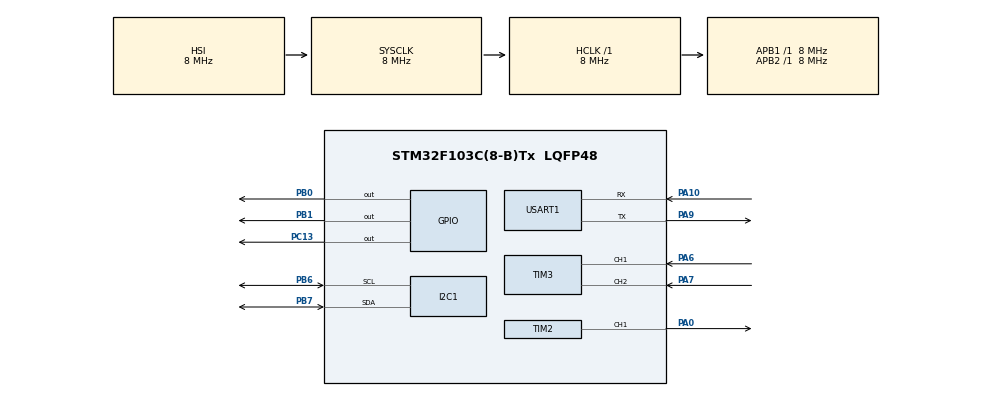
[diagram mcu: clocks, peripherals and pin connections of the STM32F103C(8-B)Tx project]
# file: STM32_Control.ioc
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Mcu.Family=STM32F1
Mcu.Name=STM32F103C(8-B)Tx
Mcu.Package=LQFP48
NVIC.PriorityGroup=NVIC_PRIORITYGROUP_4
PA0-WKUP.Signal=S_TIM2_CH1_ETR
PA10.Mode=Asynchronous
PA10.Signal=USART1_RX
PA13.Mode=Serial_Wire
PA13.Signal=SYS_JTMS-SWDIO
PA14.Mode=Serial_Wire
PA14.Signal=SYS_JTCK-SWCLK
PA6.Signal=S_TIM3_CH1
PA7.Signal=S_TIM3_CH2
PA9.Mode=Asynchronous
PA9.Signal=USART1_TX
PB0.Signal=GPIO_Output
PB1.Signal=GPIO_Output
PB6.Mode=I2C
PB6.Signal=I2C1_SCL
PB7.Mode=I2C
PB7.Signal=I2C1_SDA
PC13-TAMPER-RTC.PinState=GPIO_PIN_SET
PC13-TAMPER-RTC.Signal=GPIO_Output
ProjectManager.HeapSize=0x200
ProjectManager.StackSize=0x800
ProjectManager.TargetToolchain=CMake
RCC.AHBFreq_Value=8000000
RCC.APB1Freq_Value=8000000
RCC.APB1TimFreq_Value=8000000
RCC.APB2Freq_Value=8000000
RCC.APB2TimFreq_Value=8000000
RCC.HCLKFreq_Value=8000000
RCC.SYSCLKFreq_VALUE=8000000
RCC.USBFreq_Value=8000000
SH.S_TIM2_CH1_ETR.0=TIM2_CH1,PWM Generation1 CH1
SH.S_TIM3_CH1.0=TIM3_CH1,Encoder_Interface
SH.S_TIM3_CH2.0=TIM3_CH2,Encoder_Interface
TIM2.Channel-PWM\ Generation1\ CH1=TIM_CHANNEL_1
TIM2.Period=999
TIM2.Prescaler=7
TIM3.EncoderMode=TIM_ENCODERMODE_TI12
USART1.VirtualMode=VM_ASYNC
board=custom

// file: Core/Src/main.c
/* USER CODE BEGIN Header */
/**
  ******************************************************************************
  * @file           : main.c
  * @brief          : Main program body
  ******************************************************************************
  * @attention
  *
  * Copyright (c) 2026 STMicroelectronics.
  * All rights reserved.
  *
  * This software is licensed under terms that can be found in the LICENSE file
  * in the root directory of this software component.
  * If no LICENSE file comes with this software, it is provided AS-IS.
  *
  ******************************************************************************
  */
/* USER CODE END Header */
#include "main.h"

/* USER CODE BEGIN Includes */
#include "config.h"
#include "motor.h"
#include "pid.h"
#include "ins.h"
#include <math.h>
#include <stdio.h>
#include <string.h>
/* USER CODE END Includes */

I2C_HandleTypeDef hi2c1;

TIM_HandleTypeDef htim2;
TIM_HandleTypeDef htim3;

UART_HandleTypeDef huart1;

/* USER CODE BEGIN PV */
enum { STOP, PWM, SPEED, ANGLE };   /* 控制模式：停机、PWM、速度闭环、角度闭环 */
static int control_mode = STOP;   /* 当前控制模式 */
static int target_pwm;            /* PWM 模式的有符号输出 */
static int show_data = 0;         /* 遥测开关：v 开启，p 关闭 */
static int zero_valid;            /* 角度零点有效标志 */
static PID speed_pid = {.kp = 25, .ki = 80, .kd = 0, .limit = PWM_LIMIT}; /* 速度环 */
static PID angle_pid = {.kp = 1.5f, .ki = 0, .kd = 0.05f, .limit = ANGLE_SPEED_MAX}; /* 角度环 */
static uint16_t last_count;
static int32_t total_count;        /* 编码器累计计数 */
static uint32_t last_control, last_send;
static uint32_t last_imu_ok;       /* 上次有效姿态数据的时间，单位 ms */
static float actual_speed, target_speed;  /* 实际转速、目标转速，单位 RPM */
static float actual_angle, target_angle, angle_zero; /* 实际角度、目标角度、零点偏置，单位 ° */
static const char *message;       /* 待发送的状态消息 */

/* 中断负责接收字符，主循环负责解析完整命令。 */
static uint8_t rx_byte;
static char rx_input[32];          /* 串口命令缓冲区 */
static unsigned int rx_length;
static volatile int command_ready, serial_stop;
static int rx_discard;
/* USER CODE END PV */

void SystemClock_Config(void);
static void MX_GPIO_Init(void);
static void MX_USART1_UART_Init(void);
static void MX_TIM2_Init(void);
static void MX_TIM3_Init(void);
static void MX_I2C1_Init(void);
/* USER CODE BEGIN PFP */
static void Process_Command(const char *command);
/* USER CODE END PFP */

int main(void)
{

  /* MCU Configuration--------------------------------------------------------*/

  /* Reset of all peripherals, Initializes the Flash interface and the Systick. */
  HAL_Init();

  /* Configure the system clock */
  SystemClock_Config();

  /* Initialize all configured peripherals */
  MX_GPIO_Init();
  MX_USART1_UART_Init();
  MX_TIM2_Init();
  MX_TIM3_Init();
  MX_I2C1_Init();
  /* USER CODE BEGIN 2 */
    HAL_NVIC_SetPriority(USART1_IRQn, 2, 0);
    HAL_NVIC_EnableIRQ(USART1_IRQn);
    HAL_UART_Receive_IT(&huart1, &rx_byte, 1); /* 启动单字节中断接收 */
    Motor_Start(&htim2); /* 启动 PWM，初始占空比为 0 */
    if (HAL_TIM_Encoder_Start(&htim3, TIM_CHANNEL_ALL) != HAL_OK) Error_Handler();
    ins_init();                      /* 初始化 IMU 并校准陀螺仪零偏 */
    ins_data_t *ins = ins_data();     /* 姿态解算结果 */
    last_count = (uint16_t)__HAL_TIM_GET_COUNTER(&htim3);
    last_control = HAL_GetTick();
    last_imu_ok = last_control;
    message = "READY; z=ZERO, q=STOP\r\n";
    if (!ins->raw.valid) message = "IMU INVALID; CHECK POWER/WIRING; SEND r\r\n";
  /* USER CODE END 2 */

  /* Infinite loop */
  while (1)
  {

/* USER CODE BEGIN 3 */
    /* 处理停机请求和完整串口命令。 */
    if (serial_stop) {
        serial_stop = 0;
        command_ready = 0;
        Process_Command("q");
    }
    if (command_ready) {
        Process_Command(rx_input); /* 处理期间，接收中断不改写命令缓冲区 */
        command_ready = 0;
    }
    uint32_t now = HAL_GetTick();
    if (now - last_control >= CONTROL_MS) {
        /* 采集姿态和编码器数据，计算角度与转速。 */
        ins_update();
        uint32_t imu_now = HAL_GetTick();
        float dt = (imu_now - last_control) / 1000.0f; /* 实际采样周期，单位 s，包含 I2C 读取耗时 */
        last_control = imu_now;
        int imu_expired = imu_now - last_imu_ok > 200U; /* 姿态数据连续失效超过 200 ms */
        if (ins->raw.valid) last_imu_ok = imu_now;
        actual_angle = ANGLE_SIGN * ins->pitch - angle_zero; /* 以俯仰角计算相对零点的角度 */
        uint16_t count = (uint16_t)__HAL_TIM_GET_COUNTER(&htim3);
        int16_t delta = (int16_t)(count - last_count); /* 有符号差值处理 16 位计数器回绕 */
        last_count = count;
        total_count += delta * ENCODER_SIGN;
        float turns = delta * ENCODER_SIGN / ENCODER_CPR; /* 采样周期内的输出轴转数 */
        float rpm = turns / dt * 60.0f; /* 输出轴转速，单位 RPM */
        float filter_weight = dt / (0.04f + dt);
        actual_speed += filter_weight * (rpm - actual_speed); /* 一阶低通滤波，时间常数 40 ms */

        /* 角度外环根据角度误差生成目标转速。 */
        if (control_mode == ANGLE) {
            if (imu_expired) { /* 数据持续失效时停机并清除零点 */
                control_mode = STOP;
                zero_valid = 0;
                message = "IMU LOST >200ms; STOP; CHECK WIRING; SEND r\r\n";
            } else if (!ins->raw.valid) {
                /* 短时读取失败时暂停输出并重置 I2C，恢复后沿用原零点。 */
                Motor_Stop();
                PID_Reset(&speed_pid);
                PID_Reset(&angle_pid);
                HAL_I2C_DeInit(&hi2c1);
                HAL_I2C_Init(&hi2c1);
            } else {
                target_speed = PID_Update(&angle_pid, target_angle, actual_angle, dt);
            }
        }

        /* 速度内环计算 PWM；停机或角度模式下姿态无效时输出为 0。 */
        int pwm_output = 0;
        if (control_mode == PWM) pwm_output = target_pwm;
        if (control_mode == SPEED || (control_mode == ANGLE && ins->raw.valid))
            pwm_output = (int)PID_Update(&speed_pid, target_speed, actual_speed, dt);
        Motor_Set(pwm_output);
    }

    /* 状态消息优先发送；遥测使用 FireWater 格式，每 50 ms 发送一帧。 */
    if (message) {
        HAL_UART_Transmit(&huart1, (uint8_t *)message, strlen(message), 50);
        message = NULL;
    } else if (show_data && now - last_send >= 50U) {
        char text[320];
        last_send = now;
        snprintf(text, sizeof(text),
            "imu:%.2f,%.2f,%.2f,%.2f,%ld,%d,%.2f,%.2f,%.2f,%.2f,%.2f,%.2f,%.2f,%.2f,%.2f,%d,%u\r\n",
            target_angle, actual_angle, target_speed, actual_speed, (long)total_count, Motor_Output(),
            ins->gyro[0], ins->gyro[1], ins->gyro[2],
            ins->gyro_accel[0], ins->gyro_accel[1], ins->gyro_accel[2],
            ins->roll, ins->pitch, ins->yaw, control_mode, (unsigned int)ins->raw.valid);
        HAL_UART_Transmit(&huart1, (uint8_t *)text, strlen(text), 50);
    }
    HAL_Delay(1);
  }
  /* USER CODE END 3 */
}

void SystemClock_Config(void)
{
  RCC_OscInitTypeDef RCC_OscInitStruct = {0};
  RCC_ClkInitTypeDef RCC_ClkInitStruct = {0};

  /** Initializes the RCC Oscillators according to the specified parameters
  * in the RCC_OscInitTypeDef structure.
  */
  RCC_OscInitStruct.OscillatorType = RCC_OSCILLATORTYPE_HSI;
  RCC_OscInitStruct.HSIState = RCC_HSI_ON;
  RCC_OscInitStruct.HSICalibrationValue = RCC_HSICALIBRATION_DEFAULT;
  RCC_OscInitStruct.PLL.PLLState = RCC_PLL_NONE;
  if (HAL_RCC_OscConfig(&RCC_OscInitStruct) != HAL_OK)
  {
    Error_Handler();
  }

  /** Initializes the CPU, AHB and APB buses clocks
  */
  RCC_ClkInitStruct.ClockType = RCC_CLOCKTYPE_HCLK|RCC_CLOCKTYPE_SYSCLK
                              |RCC_CLOCKTYPE_PCLK1|RCC_CLOCKTYPE_PCLK2;
  RCC_ClkInitStruct.SYSCLKSource = RCC_SYSCLKSOURCE_HSI;
  RCC_ClkInitStruct.AHBCLKDivider = RCC_SYSCLK_DIV1;
  RCC_ClkInitStruct.APB1CLKDivider = RCC_HCLK_DIV1;
  RCC_ClkInitStruct.APB2CLKDivider = RCC_HCLK_DIV1;

  if (HAL_RCC_ClockConfig(&RCC_ClkInitStruct, FLASH_LATENCY_0) != HAL_OK)
  {
    Error_Handler();
  }
}

static void MX_I2C1_Init(void)
{

  hi2c1.Instance = I2C1;
  hi2c1.Init.ClockSpeed = 100000;
  hi2c1.Init.DutyCycle = I2C_DUTYCYCLE_2;
  hi2c1.Init.OwnAddress1 = 0;
  hi2c1.Init.AddressingMode = I2C_ADDRESSINGMODE_7BIT;
  hi2c1.Init.DualAddressMode = I2C_DUALADDRESS_DISABLE;
  hi2c1.Init.OwnAddress2 = 0;
  hi2c1.Init.GeneralCallMode = I2C_GENERALCALL_DISABLE;
  hi2c1.Init.NoStretchMode = I2C_NOSTRETCH_DISABLE;
  if (HAL_I2C_Init(&hi2c1) != HAL_OK)
  {
    Error_Handler();
  }

}

static void MX_TIM2_Init(void)
{

  TIM_MasterConfigTypeDef sMasterConfig = {0};
  TIM_OC_InitTypeDef sConfigOC = {0};

  htim2.Instance = TIM2;
  htim2.Init.Prescaler = 7;
  htim2.Init.CounterMode = TIM_COUNTERMODE_UP;
  htim2.Init.Period = 999;
  htim2.Init.ClockDivision = TIM_CLOCKDIVISION_DIV1;
  htim2.Init.AutoReloadPreload = TIM_AUTORELOAD_PRELOAD_DISABLE;
  if (HAL_TIM_PWM_Init(&htim2) != HAL_OK)
  {
    Error_Handler();
  }
  sMasterConfig.MasterOutputTrigger = TIM_TRGO_RESET;
  sMasterConfig.MasterSlaveMode = TIM_MASTERSLAVEMODE_DISABLE;
  if (HAL_TIMEx_MasterConfigSynchronization(&htim2, &sMasterConfig) != HAL_OK)
  {
    Error_Handler();
  }
  sConfigOC.OCMode = TIM_OCMODE_PWM1;
  sConfigOC.Pulse = 0;
  sConfigOC.OCPolarity = TIM_OCPOLARITY_HIGH;
  sConfigOC.OCFastMode = TIM_OCFAST_DISABLE;
  if (HAL_TIM_PWM_ConfigChannel(&htim2, &sConfigOC, TIM_CHANNEL_1) != HAL_OK)
  {
    Error_Handler();
  }
  HAL_TIM_MspPostInit(&htim2);

}

static void MX_TIM3_Init(void)
{

  TIM_Encoder_InitTypeDef sConfig = {0};
  TIM_MasterConfigTypeDef sMasterConfig = {0};

  htim3.Instance = TIM3;
  htim3.Init.Prescaler = 0;
  htim3.Init.CounterMode = TIM_COUNTERMODE_UP;
  htim3.Init.Period = 65535;
  htim3.Init.ClockDivision = TIM_CLOCKDIVISION_DIV1;
  htim3.Init.AutoReloadPreload = TIM_AUTORELOAD_PRELOAD_DISABLE;
  sConfig.EncoderMode = TIM_ENCODERMODE_TI12;
  sConfig.IC1Polarity = TIM_ICPOLARITY_RISING;
  sConfig.IC1Selection = TIM_ICSELECTION_DIRECTTI;
  sConfig.IC1Prescaler = TIM_ICPSC_DIV1;
  sConfig.IC1Filter = 0;
  sConfig.IC2Polarity = TIM_ICPOLARITY_RISING;
  sConfig.IC2Selection = TIM_ICSELECTION_DIRECTTI;
  sConfig.IC2Prescaler = TIM_ICPSC_DIV1;
  sConfig.IC2Filter = 0;
  if (HAL_TIM_Encoder_Init(&htim3, &sConfig) != HAL_OK)
  {
    Error_Handler();
  }
  sMasterConfig.MasterOutputTrigger = TIM_TRGO_RESET;
  sMasterConfig.MasterSlaveMode = TIM_MASTERSLAVEMODE_DISABLE;
  if (HAL_TIMEx_MasterConfigSynchronization(&htim3, &sMasterConfig) != HAL_OK)
  {
    Error_Handler();
  }

}

static void MX_USART1_UART_Init(void)
{

  huart1.Instance = USART1;
  huart1.Init.BaudRate = 115200;
  huart1.Init.WordLength = UART_WORDLENGTH_8B;
  huart1.Init.StopBits = UART_STOPBITS_1;
  huart1.Init.Parity = UART_PARITY_NONE;
  huart1.Init.Mode = UART_MODE_TX_RX;
  huart1.Init.HwFlowCtl = UART_HWCONTROL_NONE;
  huart1.Init.OverSampling = UART_OVERSAMPLING_16;
  if (HAL_UART_Init(&huart1) != HAL_OK)
  {
    Error_Handler();
  }

}

static void MX_GPIO_Init(void)
{
  GPIO_InitTypeDef GPIO_InitStruct = {0};

  /* GPIO Ports Clock Enable */
  __HAL_RCC_GPIOC_CLK_ENABLE();
  __HAL_RCC_GPIOA_CLK_ENABLE();
  __HAL_RCC_GPIOB_CLK_ENABLE();

  /*Configure GPIO pin Output Level */
  HAL_GPIO_WritePin(GPIOC, GPIO_PIN_13, GPIO_PIN_SET);

  /*Configure GPIO pin Output Level */
  HAL_GPIO_WritePin(GPIOB, GPIO_PIN_0|GPIO_PIN_1, GPIO_PIN_RESET);

  /*Configure GPIO pin : PC13 */
  GPIO_InitStruct.Pin = GPIO_PIN_13;
  GPIO_InitStruct.Mode = GPIO_MODE_OUTPUT_PP;
  GPIO_InitStruct.Pull = GPIO_NOPULL;
  GPIO_InitStruct.Speed = GPIO_SPEED_FREQ_LOW;
  HAL_GPIO_Init(GPIOC, &GPIO_InitStruct);

  /*Configure GPIO pins : PB0 PB1 */
  GPIO_InitStruct.Pin = GPIO_PIN_0|GPIO_PIN_1;
  GPIO_InitStruct.Mode = GPIO_MODE_OUTPUT_PP;
  GPIO_InitStruct.Pull = GPIO_NOPULL;
  GPIO_InitStruct.Speed = GPIO_SPEED_FREQ_LOW;
  HAL_GPIO_Init(GPIOB, &GPIO_InitStruct);

}

/* USER CODE BEGIN 4 */
/**
 * @brief 解析串口命令并更新控制目标。
 * @param command 以空字符结尾、不含行结束符的命令字符串。
 */
static void Process_Command(const char *command)
{
    if (strcmp(command, "p") == 0) {
        show_data = 0;
        message = "PAUSED\r\n";
        return;
    }
    if (strcmp(command, "v") == 0) {
        show_data = 1;
        message = "RESUMED\r\n";
        return;
    }
    if (strcmp(command, "q") == 0 || strcmp(command, "0") == 0) {
        control_mode = STOP;
        target_speed = 0;
        message = "STOP\r\n";
    } else if (strcmp(command, "r") == 0) {
        /* 重新初始化并校准 IMU，清除零点后保持停机。 */
        control_mode = STOP;
        target_speed = 0;
        zero_valid = 0;
        Motor_Stop();
        HAL_I2C_DeInit(&hi2c1);
        HAL_I2C_Init(&hi2c1);
        ins_init();
        last_control = HAL_GetTick();
        last_imu_ok = last_control;
        actual_speed = 0;
        message = "IMU READY; SET LEVEL THEN SEND z\r\n";
        if (!ins_data()->raw.valid) message = "IMU INVALID; CHECK POWER/WIRING; SEND r\r\n";
    } else if (strcmp(command, "z") == 0) {
        const ins_data_t *ins = ins_data();
        if (!ins->raw.valid) {
            message = "IMU INVALID; CHECK POWER/WIRING; SEND r\r\n";
            return;
        }
        angle_zero = ANGLE_SIGN * ins->pitch;
        actual_angle = 0;
        target_angle = 0;
        zero_valid = 1;
        control_mode = ANGLE;
        message = "ZERO SET; HOLD\r\n";
    } else {
        /* 仅接受一个数值参数，拒绝数值后的额外字符。 */
        float value;
        char extra;
        if (sscanf(command, "pwm:%f%c", &value, &extra) == 1 && fabsf(value) <= PWM_LIMIT) {
            target_pwm = (int)value;
            control_mode = PWM;
        } else if (sscanf(command, "speed:%f%c", &value, &extra) == 1 && fabsf(value) <= SPEED_LIMIT) {
            target_speed = value;
            control_mode = SPEED;
        } else if (sscanf(command, "angle:%f%c", &value, &extra) == 1 && fabsf(value) <= ANGLE_LIMIT) {
            if (!zero_valid) {
                message = "ZERO NOT SET; SEND z\r\n";
                return;
            }
            target_angle = value;
            control_mode = ANGLE;
        } else {
            message = "INVALID COMMAND / OUT OF RANGE\r\n";
            return;
        }
        message = "TARGET SET\r\n";
    }
    /* 更新控制目标后，清除两个 PID 的积分和历史误差。 */
    Motor_Stop();
    PID_Reset(&speed_pid);
    PID_Reset(&angle_pid);
}

/**
 * @brief 缓存串口命令，收到 q 或 Q 时立即置停机请求标志。
 * @param uart 产生接收完成中断的串口句柄。
 */
void HAL_UART_RxCpltCallback(UART_HandleTypeDef *uart)
{
    if (uart != &huart1) return;
    if (rx_byte == 'q' || rx_byte == 'Q') {
        serial_stop = 1;
        rx_length = 0;
        rx_discard = 0;
    }
    else if (command_ready) {
        /* 保留待处理命令，仅接受 q 或 Q 停机请求。 */
    } else if (rx_byte == '\n' || rx_byte == '\r') {
        if (rx_length && !rx_discard) {
            rx_input[rx_length] = 0;
            command_ready = 1;
        }
        rx_length = 0;
        rx_discard = 0;
    } else if (!rx_discard) {
        if (rx_length < sizeof(rx_input) - 1) rx_input[rx_length++] = (char)rx_byte;
        else {
            rx_discard = 1;
            serial_stop = 1;
        }
    }
    if (HAL_UART_Receive_IT(&huart1, &rx_byte, 1) != HAL_OK) serial_stop = 1;
}
/**
 * @brief 串口接收出错时请求停机，并重新启动中断接收。
 * @param uart 产生错误中断的串口句柄。
 */
void HAL_UART_ErrorCallback(UART_HandleTypeDef *uart)
{
    if (uart != &huart1) return;
    serial_stop = 1;
    HAL_UART_AbortReceive(&huart1);
    HAL_UART_Receive_IT(&huart1, &rx_byte, 1);
}
/* USER CODE END 4 */

void Error_Handler(void)
{
  __disable_irq();
  while (1)
  {
  }
}
